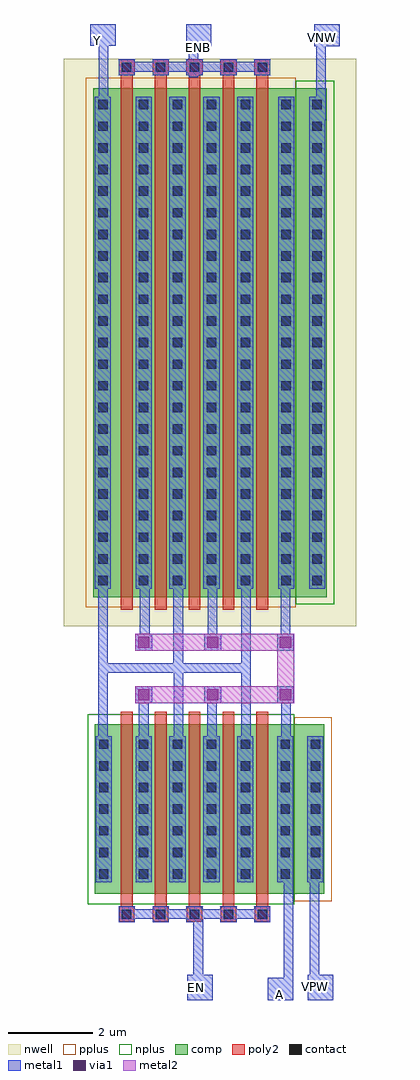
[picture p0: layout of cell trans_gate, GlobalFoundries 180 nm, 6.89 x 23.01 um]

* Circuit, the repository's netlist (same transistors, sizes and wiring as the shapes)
** sch_path: /foss/designs/03_super_long_wave/2026_sscs_gf180/designs/libs/tb_digital/tb_sw_matrix_system/trans_gate/trans_gate.sch
.subckt trans_gate VNW VPW A ENB Y EN
*.PININFO EN:I ENB:I VNW:B VPW:B Y:B A:B
M1 A ENB Y VNW pfet_03v3 L=0.28u W=60u nf=1
M2 A EN Y VPW nfet_03v3 L=0.28u W=20u nf=1
.ends

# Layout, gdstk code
from math import pi, radians
import gdstk
lib = gdstk.Library(unit=1e-6, precision=1e-09)
def R(c, l, rs):  # rectangles x0, y0, x1, y1
    for r in rs: c.add(gdstk.rectangle(r[:2], r[2:], *l))
def A(c, l, x, y, w, h, nx, ny, dx, dy):  # array of equal rectangles
    R(c, l, [(x+i*dx, y+j*dy, x+i*dx+w, y+j*dy+h) for i in range(nx) for j in range(ny)])
nwell = (21, 0)
comp = (22, 0)
poly2 = (30, 0)
pplus = (31, 0)
nplus = (32, 0)
contact = (33, 0)
metal1 = (34, 0)
via1 = (35, 0)
metal2 = (36, 0)

nfet = lib.new_cell('nfet')
R(nfet, comp, [(-0.42,0,0,4), (0,0,3.86,4), (3.86,0,4.28,4), (4.28,0,4.99,4)])
A(nfet, poly2, 0.15, -0.66, 0.36, 0.36, 5, 1, 0.8, 0)
A(nfet, poly2, 0.19, -0.3, 0.28, 4.6, 5, 1, 0.8, 0)
R(nfet, pplus, [(4.28,-0.17,5.16,4.17)])
R(nfet, nplus, [(-0.59,-0.24,4.28,4.24)])
A(nfet, contact, 0.22, -0.59, 0.22, 0.22, 5, 1, 0.8, 0)
A(nfet, contact, -0.32, 0.36, 0.22, 0.22, 1, 7, 0, 0.51)
A(nfet, contact, 0.62, 0.36, 0.22, 0.22, 4, 7, 0.8, 0.51)
A(nfet, contact, 3.96, 0.36, 0.22, 0.22, 1, 7, 0, 0.51)
A(nfet, contact, 4.67, 0.36, 0.22, 0.22, 1, 7, 0, 0.51)
A(nfet, metal1, 0.14, -0.671, 0.38, 0.382, 5, 1, 0.8, 0)
A(nfet, metal1, 0.54, 0.28, 0.38, 3.44, 4, 1, 0.8, 0)
R(nfet, metal1, [(-0.4,0.28,-0.02,3.72), (3.88,0.28,4.26,3.72), (4.59,0.28,4.97,3.72)])

via_dev = lib.new_cell('via_dev')
R(via_dev, metal1, [(0,0,0.4,0.4)])
R(via_dev, via1, [(0.07,0.07,0.33,0.33)])
R(via_dev, metal2, [(0,0,0.4,0.4)])

pfet = lib.new_cell('pfet')
R(pfet, nwell, [(-1.15,-0.69,5.74,12.69)])
R(pfet, comp, [(-0.46,0,0,12), (0,0,3.86,12), (3.86,0,4.32,12), (4.32,0,5.05,12)])
A(pfet, poly2, 0.19, -0.3, 0.28, 12.6, 5, 1, 0.8, 0)
A(pfet, poly2, 0.14, 12.3, 0.38, 0.38, 5, 1, 0.8, 0)
R(pfet, pplus, [(-0.63,-0.24,4.32,12.24)])
R(pfet, nplus, [(4.32,-0.17,5.22,12.17)])
A(pfet, contact, -0.34, 0.28, 0.22, 0.22, 1, 23, 0, 0.51)
A(pfet, contact, 0.62, 0.28, 0.22, 0.22, 4, 23, 0.8, 0.51)
A(pfet, contact, 3.98, 0.28, 0.22, 0.22, 1, 23, 0, 0.51)
A(pfet, contact, 4.71, 0.28, 0.22, 0.22, 1, 23, 0, 0.51)
A(pfet, contact, 0.22, 12.38, 0.22, 0.22, 5, 1, 0.8, 0)
A(pfet, metal1, 0.54, 0.2, 0.38, 11.6, 4, 1, 0.8, 0)
A(pfet, metal1, 0.14, 12.299, 0.38, 0.382, 5, 1, 0.8, 0)
R(pfet, metal1, [(-0.42,0.2,-0.04,11.8), (3.9,0.2,4.28,11.8), (4.63,0.2,5.01,11.8)])

trans_gate = lib.new_cell('trans_gate')
R(trans_gate, metal1, [(-0.24,-6.5,0.36,-5.9), (1.66,-6.5,2.26,-5.98), (2.6,-6.5,3.2,-5.9), (2.645,-5.98,2.875,-3.42), (2.795,14.24,3.025,16), (-0.21,15.26,0.02,16.04), (2.75,15.98,3.35,16.5), (-0.27,15.99,0.33,16.5), (-2.53,16,-1.93,16.51)])
trans_gate.add(gdstk.FlexPath([(-2.215,16.37),(-2.215,13.68)], 0.23, ends="flush", simple_path=True, layer=34, datatype=0))  # metal1
trans_gate.add(gdstk.FlexPath([(2.145,-6.2),(2.145,-3.6)], 0.23, ends="flush", simple_path=True, layer=34, datatype=0))  # metal1
trans_gate.add(gdstk.FlexPath([(-1.245,3.46),(-1.245,1.9)], 0.23, ends="flush", simple_path=True, layer=34, datatype=0))  # metal1
trans_gate.add(gdstk.FlexPath([(1.145,3.47),(1.145,1.07)], 0.23, ends="flush", simple_path=True, layer=34, datatype=0))  # metal1
trans_gate.add(gdstk.FlexPath([(-0.455,3.47),(-0.455,1.35)], 0.23, ends="flush", simple_path=True, layer=34, datatype=0))  # metal1
trans_gate.add(gdstk.FlexPath([(-1.265,-0.44),(-1.265,0.72)], 0.23, ends="flush", simple_path=True, layer=34, datatype=0))  # metal1
trans_gate.add(gdstk.FlexPath([(0.345,-0.43),(0.345,0.69)], 0.23, ends="flush", simple_path=True, layer=34, datatype=0))  # metal1
trans_gate.add(gdstk.FlexPath([(2.085,-0.44),(2.085,0.74)], 0.23, ends="flush", simple_path=True, layer=34, datatype=0))  # metal1
trans_gate.add(gdstk.FlexPath([(1.145,-0.45),(1.145,1.33),(-2.225,1.33),(-2.225,3.52)], 0.23, ends="flush", simple_path=True, layer=34, datatype=0))  # metal1
trans_gate.add(gdstk.FlexPath([(-2.225,1.29),(-2.225,-0.57)], 0.23, ends="flush", simple_path=True, layer=34, datatype=0))  # metal1
trans_gate.add(gdstk.FlexPath([(-0.45,-0.43),(-0.45,1.32)], 0.23, ends="flush", simple_path=True, layer=34, datatype=0))  # metal1
trans_gate.add(gdstk.FlexPath([(-1.6,15.505),(1.7,15.505)], 0.23, ends="flush", simple_path=True, layer=34, datatype=0))  # metal1
trans_gate.add(gdstk.FlexPath([(2.075,1.99),(2.075,3.52)], 0.23, ends="flush", simple_path=True, layer=34, datatype=0))  # metal1
trans_gate.add(gdstk.FlexPath([(0.355,2.07),(0.355,3.46)], 0.23, ends="flush", simple_path=True, layer=34, datatype=0))  # metal1
trans_gate.add(gdstk.FlexPath([(-1.67,-4.475),(1.63,-4.475)], 0.23, ends="flush", simple_path=True, layer=34, datatype=0))  # metal1
trans_gate.add(gdstk.FlexPath([(0.015,-4.47),(0.015,-6.21)], 0.23, ends="flush", simple_path=True, layer=34, datatype=0))  # metal1
trans_gate.add(gdstk.FlexPath([(2.08,0.5),(2.08,2.13)], 0.4, ends="flush", simple_path=True, layer=36, datatype=0))  # metal2
trans_gate.add(gdstk.FlexPath([(-1.255,1.93),(2.155,1.93)], 0.4, ends="flush", simple_path=True, layer=36, datatype=0))  # metal2
trans_gate.add(gdstk.FlexPath([(-1.255,0.7),(2.155,0.7)], 0.4, ends="flush", simple_path=True, layer=36, datatype=0))  # metal2
trans_gate.add(gdstk.Reference(nfet, (-2,-4)))
trans_gate.add(gdstk.Reference(via_dev, (0.565,1.73), rotation=pi/2))
trans_gate.add(gdstk.Reference(via_dev, (2.275,1.73), rotation=pi/2))
trans_gate.add(gdstk.Reference(via_dev, (-1.065,1.73), rotation=pi/2))
trans_gate.add(gdstk.Reference(via_dev, (0.565,0.5), rotation=pi/2))
trans_gate.add(gdstk.Reference(via_dev, (2.275,0.5), rotation=pi/2))
trans_gate.add(gdstk.Reference(via_dev, (-1.065,0.5), rotation=pi/2))
trans_gate.add(gdstk.Reference(pfet, (-2,3)))
trans_gate.add(gdstk.Label('Y', (-2.355,16.125), layer=34, texttype=10))
trans_gate.add(gdstk.Label('A', (1.94,-6.38), layer=34, texttype=10))
trans_gate.add(gdstk.Label('VNW', (2.95,16.18), layer=34, texttype=10))
trans_gate.add(gdstk.Label('VPW', (2.775,-6.19), layer=34, texttype=10))
trans_gate.add(gdstk.Label('ENB', (0.02,15.96), layer=34, texttype=10))
trans_gate.add(gdstk.Label('EN', (-0.02,-6.21), layer=34, texttype=10))

lib.write_gds('trans_gate.gds')
